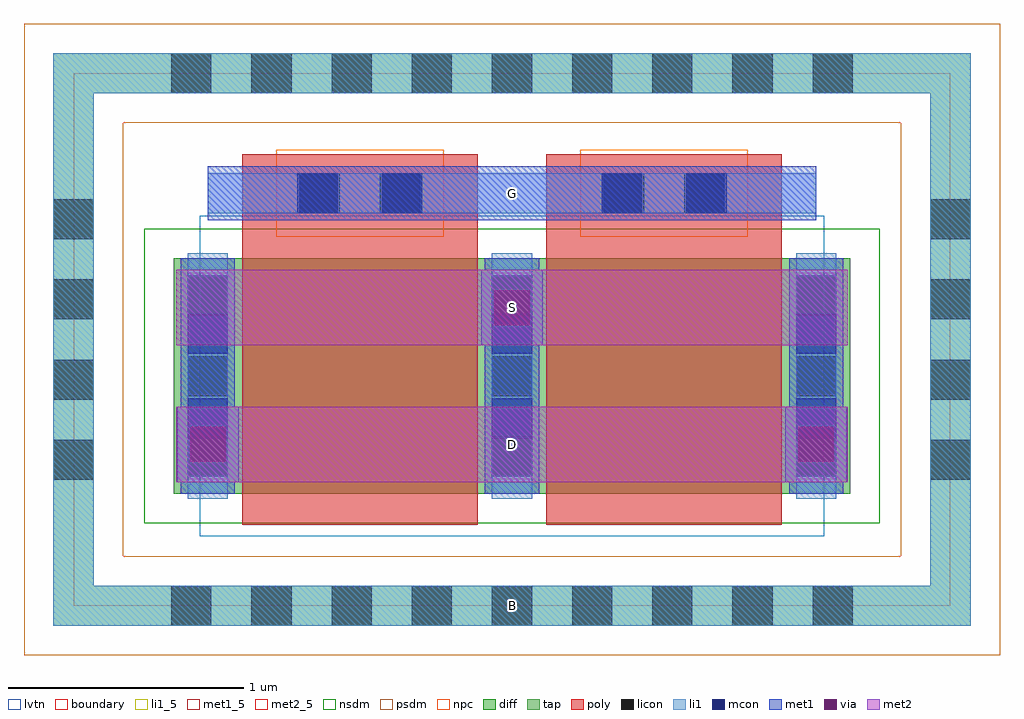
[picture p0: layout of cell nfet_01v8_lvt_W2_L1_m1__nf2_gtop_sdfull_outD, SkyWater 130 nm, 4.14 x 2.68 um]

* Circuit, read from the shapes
.subckt nfet_01v8_lvt_W2_L1_m1__nf2_gtop_sdfull_outD B D G S
XM1 S G D B sky130_fd_pr__nfet_01v8_lvt w=1 l=1 m=2
.ends

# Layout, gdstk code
import gdstk
lib = gdstk.Library(unit=1e-6, precision=1e-09)
def R(c, l, rs):  # rectangles x0, y0, x1, y1
    for r in rs: c.add(gdstk.rectangle(r[:2], r[2:], *l))
def A(c, l, x, y, w, h, nx, ny, dx, dy):  # array of equal rectangles
    R(c, l, [(x+i*dx, y+j*dy, x+i*dx+w, y+j*dy+h) for i in range(nx) for j in range(ny)])
diff = (65, 20)
tap = (65, 44)
poly = (66, 20)
licon = (66, 44)
li1_5 = (67, 5)
li1 = (67, 20)
mcon = (67, 44)
met1_5 = (68, 5)
met1 = (68, 20)
via = (68, 44)
met2_5 = (69, 5)
met2 = (69, 20)
nsdm = (93, 44)
psdm = (94, 20)
npc = (95, 20)
lvtn = (125, 44)
boundary = (235, 4)

sky130_fd_pr__nfet_01v8_ = lib.new_cell('sky130_fd_pr__nfet_01v8_lvt_EU532N')
R(sky130_fd_pr__nfet_01v8_, diff, [(-1.435,-0.655,1.435,0.345)])
R(sky130_fd_pr__nfet_01v8_, tap, [(-1.945,-1.215,1.945,-1.045), (-1.945,-1.045,-1.775,1.045), (1.775,-1.045,1.945,1.045), (-1.945,1.045,1.945,1.215)])
R(sky130_fd_pr__nfet_01v8_, poly, [(-1.145,-0.785,-0.145,0.785), (0.145,-0.785,1.145,0.785)])
A(sky130_fd_pr__nfet_01v8_, licon, -1.445, -1.215, 0.17, 0.17, 9, 2, 0.34, 2.26)
A(sky130_fd_pr__nfet_01v8_, licon, -1.945, -0.595, 0.17, 0.17, 1, 4, 0, 0.34)
A(sky130_fd_pr__nfet_01v8_, licon, 1.775, -0.595, 0.17, 0.17, 1, 4, 0, 0.34)
A(sky130_fd_pr__nfet_01v8_, licon, -1.375, -0.58, 0.17, 0.17, 3, 3, 1.29, 0.34)
R(sky130_fd_pr__nfet_01v8_, licon, [(-0.9,0.535,-0.73,0.705), (-0.56,0.535,-0.39,0.705), (0.39,0.535,0.56,0.705), (0.73,0.535,0.9,0.705)])
A(sky130_fd_pr__nfet_01v8_, li1, -1.375, -0.675, 0.17, 1.04, 3, 1, 1.29, 0)
R(sky130_fd_pr__nfet_01v8_, li1, [(-1.945,-1.215,1.945,-1.045), (-1.945,-1.045,-1.775,1.045), (1.775,-1.045,1.945,1.045), (-1.29,0.535,1.29,0.705), (-1.945,1.045,1.945,1.215)])
A(sky130_fd_pr__nfet_01v8_, mcon, -1.375, -0.42, 0.17, 0.17, 3, 2, 1.29, 0.36)
R(sky130_fd_pr__nfet_01v8_, mcon, [(-0.91,0.535,-0.74,0.705), (-0.55,0.535,-0.38,0.705), (0.38,0.535,0.55,0.705), (0.74,0.535,0.91,0.705)])
A(sky130_fd_pr__nfet_01v8_, met1, -1.405, -0.655, 0.23, 1, 3, 1, 1.29, 0)
R(sky130_fd_pr__nfet_01v8_, met1, [(-1.125,0.505,-0.165,0.535), (0.165,0.505,1.125,0.535), (-1.29,0.535,1.29,0.705), (-1.125,0.705,-0.165,0.735), (0.165,0.705,1.125,0.735)])
R(sky130_fd_pr__nfet_01v8_, nsdm, [(-1.56,-0.78,1.56,0.47)])
R(sky130_fd_pr__nfet_01v8_, psdm, [(-2.07,-1.34,2.07,-0.92), (-2.07,-0.92,-1.65,0.92), (1.65,-0.92,2.07,0.92), (-2.07,0.92,2.07,1.34)])
R(sky130_fd_pr__nfet_01v8_, npc, [(-1,0.435,-0.29,0.805), (0.29,0.435,1,0.805)])
R(sky130_fd_pr__nfet_01v8_, lvtn, [(-1.325,-0.835,1.325,0.525)])
R(sky130_fd_pr__nfet_01v8_, boundary, [(-1.86,-1.13,1.86,1.13)])
sky130_fd_pr__nfet_01v8_.add(gdstk.Label('B', (0,-1.13), layer=67, texttype=5))
sky130_fd_pr__nfet_01v8_.add(gdstk.Label('D0', (-1.29,-0.155), layer=67, texttype=5))
sky130_fd_pr__nfet_01v8_.add(gdstk.Label('G', (0.645,0.62), layer=67, texttype=5))
sky130_fd_pr__nfet_01v8_.add(gdstk.Label('G', (-0.645,0.62), layer=67, texttype=5))
sky130_fd_pr__nfet_01v8_.add(gdstk.Label('S1', (0,-0.155), layer=67, texttype=5))

nfet_01v8_lvt_w2_l1_m1__ = lib.new_cell('nfet_01v8_lvt_W2_L1_m1__nf2_gtop_sdfull_outD')
R(nfet_01v8_lvt_w2_l1_m1__, li1_5, [(1.775,-0.085,1.945,0.085)])
R(nfet_01v8_lvt_w2_l1_m1__, li1, [(1.775,-0.085,1.945,0.085)])
R(nfet_01v8_lvt_w2_l1_m1__, met1_5, [(0.57,1.635,3.15,1.865)])
R(nfet_01v8_lvt_w2_l1_m1__, met1, [(0.44,0.525,0.7,0.845), (3.02,0.525,3.28,0.845), (1.73,1.105,1.99,1.425), (0.57,1.635,3.15,1.865)])
R(nfet_01v8_lvt_w2_l1_m1__, via, [(0.495,0.61,0.645,0.76), (3.075,0.61,3.225,0.76), (1.785,1.19,1.935,1.34)])
R(nfet_01v8_lvt_w2_l1_m1__, met2_5, [(0.435,0.525,3.285,0.845), (0.435,1.105,3.285,1.425)])
R(nfet_01v8_lvt_w2_l1_m1__, met2, [(0.435,0.525,3.285,0.845), (0.435,1.105,3.285,1.425)])
nfet_01v8_lvt_w2_l1_m1__.add(gdstk.Reference(sky130_fd_pr__nfet_01v8_, (1.86,1.13)))
nfet_01v8_lvt_w2_l1_m1__.add(gdstk.Label('S', (1.86,1.265), layer=69, texttype=5))
nfet_01v8_lvt_w2_l1_m1__.add(gdstk.Label('D', (1.86,0.685), layer=69, texttype=5))
nfet_01v8_lvt_w2_l1_m1__.add(gdstk.Label('G', (1.86,1.75), layer=68, texttype=5))
nfet_01v8_lvt_w2_l1_m1__.add(gdstk.Label('B', (1.86,0), layer=67, texttype=5))

lib.write_gds('nfet_01v8_lvt_W2_L1_m1__nf2_gtop_sdfull_outD.gds')
